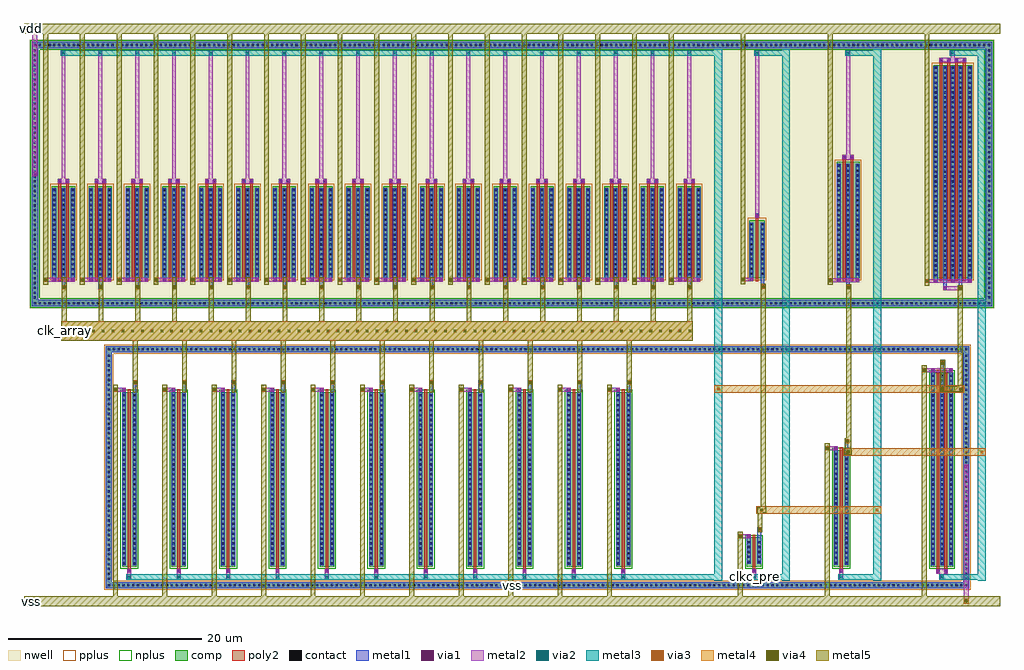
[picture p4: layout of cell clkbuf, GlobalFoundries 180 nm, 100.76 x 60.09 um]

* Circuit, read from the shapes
.subckt clkbuf clk_array clkc_pre vdd vss
XM1 clk_array n1 vss vss nfet_03v3 w=18u l=0.28u m=11
XM2 n2 clkc_pre vss vss nfet_03v3 w=3u l=0.28u
XM3 n3 n2 vss vss nfet_03v3 w=12u l=0.28u
XM4 n1 n3 vss vss nfet_03v3 w=20u l=0.28u m=2
XM5 clk_array n1 vdd vdd pfet_03v3 w=9.5u l=0.28u m=36
XM6 n2 clkc_pre vdd vdd pfet_03v3 w=6u l=0.28u
XM7 n3 n2 vdd vdd pfet_03v3 w=12u l=0.28u m=2
XM8 n1 n3 vdd vdd pfet_03v3 w=22u l=0.28u m=4
.ends

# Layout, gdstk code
import gdstk
lib = gdstk.Library(unit=1e-6, precision=1e-09)
def R(c, l, rs):  # rectangles x0, y0, x1, y1
    for r in rs: c.add(gdstk.rectangle(r[:2], r[2:], *l))
def A(c, l, x, y, w, h, nx, ny, dx, dy):  # array of equal rectangles
    R(c, l, [(x+i*dx, y+j*dy, x+i*dx+w, y+j*dy+h) for i in range(nx) for j in range(ny)])
nwell = (21, 0)
comp = (22, 0)
poly2 = (30, 0)
pplus = (31, 0)
nplus = (32, 0)
contact = (33, 0)
metal1 = (34, 0)
via1 = (35, 0)
metal2 = (36, 0)
via2 = (38, 0)
via3 = (40, 0)
via4 = (41, 0)
metal3 = (42, 0)
metal4 = (46, 0)
metal5 = (81, 0)

clkbuf = lib.new_cell('clkbuf')
A(clkbuf, nwell, 2, 32, 3.26, 10.38, 18, 1, 3.8, 0)
R(clkbuf, nwell, [(0.15,29.34,99.71,57.03), (74,32,76.46,38.88), (83,32,86.26,44.88), (93,32,97.86,54.88)])
A(clkbuf, comp, 10.09, 2.67, 0.66, 18, 11, 1, 5.1, 0)
A(clkbuf, comp, 2.9, 32.44, 1.46, 9.5, 18, 1, 3.8, 0)
R(clkbuf, comp, [(8,0.44,97.14,1.04), (8,1.04,8.6,24.8), (96.54,1.04,97.14,24.8), (9.67,2.67,10.09,20.67), (10.75,2.67,11.17,20.67), (14.77,2.67,15.19,20.67), (15.85,2.67,16.27,20.67), (19.87,2.67,20.29,20.67), (20.95,2.67,21.37,20.67), (24.97,2.67,25.39,20.67), (26.05,2.67,26.47,20.67), (30.07,2.67,30.49,20.67), (31.15,2.67,31.57,20.67), (35.17,2.67,35.59,20.67), (36.25,2.67,36.67,20.67), (40.27,2.67,40.69,20.67), (41.35,2.67,41.77,20.67), (45.37,2.67,45.79,20.67), (46.45,2.67,46.87,20.67), (50.47,2.67,50.89,20.67), (51.55,2.67,51.97,20.67), (55.57,2.67,55.99,20.67), (56.65,2.67,57.07,20.67), (60.67,2.67,61.09,20.67), (61.75,2.67,62.17,20.67), (74.17,2.67,74.59,5.67), (74.59,2.67,75.25,5.67), (75.25,2.67,75.67,5.67), (83.17,2.67,83.59,14.67), (83.59,2.67,84.25,14.67), (84.25,2.67,84.67,14.67), (93.17,2.67,93.59,22.67), (93.59,2.67,95.05,22.67), (95.05,2.67,95.47,22.67), (8,24.8,97.14,25.4), (0.35,29.54,99.51,30.19), (0.35,30.19,1,56.18), (98.86,30.19,99.51,56.18), (2.44,32.44,2.9,41.94), (4.36,32.44,4.82,41.94), (6.24,32.44,6.7,41.94), (8.16,32.44,8.62,41.94), (10.04,32.44,10.5,41.94), (11.96,32.44,12.42,41.94), (13.84,32.44,14.3,41.94), (15.76,32.44,16.22,41.94), (17.64,32.44,18.1,41.94), (19.56,32.44,20.02,41.94), (21.44,32.44,21.9,41.94), (23.36,32.44,23.82,41.94), (25.24,32.44,25.7,41.94), (27.16,32.44,27.62,41.94), (29.04,32.44,29.5,41.94), (30.96,32.44,31.42,41.94), (32.84,32.44,33.3,41.94), (34.76,32.44,35.22,41.94), (36.64,32.44,37.1,41.94), (38.56,32.44,39.02,41.94), (40.44,32.44,40.9,41.94), (42.36,32.44,42.82,41.94), (44.24,32.44,44.7,41.94), (46.16,32.44,46.62,41.94), (48.04,32.44,48.5,41.94), (49.96,32.44,50.42,41.94), (51.84,32.44,52.3,41.94), (53.76,32.44,54.22,41.94), (55.64,32.44,56.1,41.94), (57.56,32.44,58.02,41.94), (59.44,32.44,59.9,41.94), (61.36,32.44,61.82,41.94), (63.24,32.44,63.7,41.94), (65.16,32.44,65.62,41.94), (67.04,32.44,67.5,41.94), (68.96,32.44,69.42,41.94), (74.44,32.44,74.9,38.44), (74.9,32.44,75.56,38.44), (75.56,32.44,76.02,38.44), (83.44,32.44,83.9,44.44), (83.9,32.44,85.36,44.44), (85.36,32.44,85.82,44.44), (93.44,32.44,93.9,54.44), (93.9,32.44,96.96,54.44), (96.96,32.44,97.42,54.44), (0.35,56.18,99.51,56.83)])
A(clkbuf, poly2, 10.24, 2.01, 0.36, 0.36, 11, 1, 5.1, 0)
A(clkbuf, poly2, 10.28, 2.37, 0.28, 18.6, 11, 1, 5.1, 0)
A(clkbuf, poly2, 94.09, 32.14, 0.28, 22.6, 4, 1, 0.8, 0)
A(clkbuf, poly2, 94.04, 54.74, 0.38, 0.38, 4, 1, 0.8, 0)
R(clkbuf, poly2, [(74.74,2.01,75.1,2.37), (83.74,2.01,84.1,2.37), (93.74,2.01,94.1,2.37), (94.54,2.01,94.9,2.37), (74.78,2.37,75.06,5.97), (83.78,2.37,84.06,14.97), (93.78,2.37,94.06,22.97), (94.58,2.37,94.86,22.97), (3.09,32.14,3.37,42.24), (3.89,32.14,4.17,42.24), (6.89,32.14,7.17,42.24), (7.69,32.14,7.97,42.24), (10.69,32.14,10.97,42.24), (11.49,32.14,11.77,42.24), (14.49,32.14,14.77,42.24), (15.29,32.14,15.57,42.24), (18.29,32.14,18.57,42.24), (19.09,32.14,19.37,42.24), (22.09,32.14,22.37,42.24), (22.89,32.14,23.17,42.24), (25.89,32.14,26.17,42.24), (26.69,32.14,26.97,42.24), (29.69,32.14,29.97,42.24), (30.49,32.14,30.77,42.24), (33.49,32.14,33.77,42.24), (34.29,32.14,34.57,42.24), (37.29,32.14,37.57,42.24), (38.09,32.14,38.37,42.24), (41.09,32.14,41.37,42.24), (41.89,32.14,42.17,42.24), (44.89,32.14,45.17,42.24), (45.69,32.14,45.97,42.24), (48.69,32.14,48.97,42.24), (49.49,32.14,49.77,42.24), (52.49,32.14,52.77,42.24), (53.29,32.14,53.57,42.24), (56.29,32.14,56.57,42.24), (57.09,32.14,57.37,42.24), (60.09,32.14,60.37,42.24), (60.89,32.14,61.17,42.24), (63.89,32.14,64.17,42.24), (64.69,32.14,64.97,42.24), (67.69,32.14,67.97,42.24), (68.49,32.14,68.77,42.24), (75.09,32.14,75.37,38.74), (84.09,32.14,84.37,44.74), (84.89,32.14,85.17,44.74), (75.04,38.74,75.42,39.12), (3.04,42.24,3.42,42.62), (3.84,42.24,4.22,42.62), (6.84,42.24,7.22,42.62), (7.64,42.24,8.02,42.62), (10.64,42.24,11.02,42.62), (11.44,42.24,11.82,42.62), (14.44,42.24,14.82,42.62), (15.24,42.24,15.62,42.62), (18.24,42.24,18.62,42.62), (19.04,42.24,19.42,42.62), (22.04,42.24,22.42,42.62), (22.84,42.24,23.22,42.62), (25.84,42.24,26.22,42.62), (26.64,42.24,27.02,42.62), (29.64,42.24,30.02,42.62), (30.44,42.24,30.82,42.62), (33.44,42.24,33.82,42.62), (34.24,42.24,34.62,42.62), (37.24,42.24,37.62,42.62), (38.04,42.24,38.42,42.62), (41.04,42.24,41.42,42.62), (41.84,42.24,42.22,42.62), (44.84,42.24,45.22,42.62), (45.64,42.24,46.02,42.62), (48.64,42.24,49.02,42.62), (49.44,42.24,49.82,42.62), (52.44,42.24,52.82,42.62), (53.24,42.24,53.62,42.62), (56.24,42.24,56.62,42.62), (57.04,42.24,57.42,42.62), (60.04,42.24,60.42,42.62), (60.84,42.24,61.22,42.62), (63.84,42.24,64.22,42.62), (64.64,42.24,65.02,42.62), (67.64,42.24,68.02,42.62), (68.44,42.24,68.82,42.62), (84.04,44.74,84.42,45.12), (84.84,44.74,85.22,45.12)])
A(clkbuf, pplus, 2.27, 32.2, 2.72, 9.98, 18, 1, 3.8, 0)
R(clkbuf, pplus, [(7.84,0.28,97.3,1.2), (7.84,0.88,8.76,24.96), (96.38,0.88,97.3,24.96), (7.84,24.64,97.3,25.56), (74.27,32.2,76.19,38.68), (83.27,32.2,85.99,44.68), (93.27,32.2,97.59,54.68)])
A(clkbuf, nplus, 9.5, 2.43, 1.84, 18.48, 11, 1, 5.1, 0)
R(clkbuf, nplus, [(74,2.43,75.84,5.91), (83,2.43,84.84,14.91), (93,2.43,95.64,22.91), (0.19,29.38,99.67,30.35), (0.19,30.03,1.16,56.34), (98.7,30.03,99.67,56.34), (0.19,56.02,99.67,56.99)])
A(clkbuf, contact, 8.21, 0.63, 0.22, 0.22, 178, 2, 0.5, 24.36)
A(clkbuf, contact, 8.19, 1.31, 0.22, 0.22, 1, 47, 0, 0.5)
A(clkbuf, contact, 96.73, 1.31, 0.22, 0.22, 1, 47, 0, 0.5)
A(clkbuf, contact, 10.31, 2.08, 0.22, 0.22, 11, 1, 5.1, 0)
A(clkbuf, contact, 93.27, 2.87, 0.22, 0.22, 3, 39, 0.94, 0.51)
A(clkbuf, contact, 9.77, 2.89, 0.22, 0.22, 1, 35, 0, 0.51)
A(clkbuf, contact, 10.85, 2.89, 0.22, 0.22, 1, 35, 0, 0.51)
A(clkbuf, contact, 14.87, 2.89, 0.22, 0.22, 1, 35, 0, 0.51)
A(clkbuf, contact, 15.95, 2.89, 0.22, 0.22, 1, 35, 0, 0.51)
A(clkbuf, contact, 19.97, 2.89, 0.22, 0.22, 1, 35, 0, 0.51)
A(clkbuf, contact, 21.05, 2.89, 0.22, 0.22, 1, 35, 0, 0.51)
A(clkbuf, contact, 25.07, 2.89, 0.22, 0.22, 1, 35, 0, 0.51)
A(clkbuf, contact, 26.15, 2.89, 0.22, 0.22, 1, 35, 0, 0.51)
A(clkbuf, contact, 30.17, 2.89, 0.22, 0.22, 1, 35, 0, 0.51)
A(clkbuf, contact, 31.25, 2.89, 0.22, 0.22, 1, 35, 0, 0.51)
A(clkbuf, contact, 35.27, 2.89, 0.22, 0.22, 1, 35, 0, 0.51)
A(clkbuf, contact, 36.35, 2.89, 0.22, 0.22, 1, 35, 0, 0.51)
A(clkbuf, contact, 40.37, 2.89, 0.22, 0.22, 1, 35, 0, 0.51)
A(clkbuf, contact, 41.45, 2.89, 0.22, 0.22, 1, 35, 0, 0.51)
A(clkbuf, contact, 45.47, 2.89, 0.22, 0.22, 1, 35, 0, 0.51)
A(clkbuf, contact, 46.55, 2.89, 0.22, 0.22, 1, 35, 0, 0.51)
A(clkbuf, contact, 50.57, 2.89, 0.22, 0.22, 1, 35, 0, 0.51)
A(clkbuf, contact, 51.65, 2.89, 0.22, 0.22, 1, 35, 0, 0.51)
A(clkbuf, contact, 55.67, 2.89, 0.22, 0.22, 1, 35, 0, 0.51)
A(clkbuf, contact, 56.75, 2.89, 0.22, 0.22, 1, 35, 0, 0.51)
A(clkbuf, contact, 60.77, 2.89, 0.22, 0.22, 1, 35, 0, 0.51)
A(clkbuf, contact, 61.85, 2.89, 0.22, 0.22, 1, 35, 0, 0.51)
A(clkbuf, contact, 83.27, 2.95, 0.22, 0.22, 1, 23, 0, 0.51)
A(clkbuf, contact, 84.35, 2.95, 0.22, 0.22, 1, 23, 0, 0.51)
A(clkbuf, contact, 74.27, 3.04, 0.22, 0.22, 1, 5, 0, 0.51)
A(clkbuf, contact, 75.35, 3.04, 0.22, 0.22, 1, 5, 0, 0.51)
A(clkbuf, contact, 0.57, 29.755, 0.22, 0.22, 198, 2, 0.5, 26.64)
A(clkbuf, contact, 0.565, 30.325, 0.22, 0.22, 1, 52, 0, 0.5)
A(clkbuf, contact, 99.075, 30.325, 0.22, 0.22, 1, 52, 0, 0.5)
A(clkbuf, contact, 93.56, 32.62, 0.22, 0.22, 1, 43, 0, 0.51)
A(clkbuf, contact, 94.52, 32.62, 0.22, 0.22, 3, 43, 0.8, 0.51)
A(clkbuf, contact, 97.08, 32.62, 0.22, 0.22, 1, 43, 0, 0.51)
A(clkbuf, contact, 83.56, 32.72, 0.22, 0.22, 3, 23, 0.96, 0.51)
A(clkbuf, contact, 2.56, 32.745, 0.22, 0.22, 3, 18, 0.96, 0.51)
A(clkbuf, contact, 6.36, 32.745, 0.22, 0.22, 3, 18, 0.96, 0.51)
A(clkbuf, contact, 10.16, 32.745, 0.22, 0.22, 3, 18, 0.96, 0.51)
A(clkbuf, contact, 13.96, 32.745, 0.22, 0.22, 3, 18, 0.96, 0.51)
A(clkbuf, contact, 17.76, 32.745, 0.22, 0.22, 3, 18, 0.96, 0.51)
A(clkbuf, contact, 21.56, 32.745, 0.22, 0.22, 3, 18, 0.96, 0.51)
A(clkbuf, contact, 25.36, 32.745, 0.22, 0.22, 3, 18, 0.96, 0.51)
A(clkbuf, contact, 29.16, 32.745, 0.22, 0.22, 3, 18, 0.96, 0.51)
A(clkbuf, contact, 32.96, 32.745, 0.22, 0.22, 3, 18, 0.96, 0.51)
A(clkbuf, contact, 36.76, 32.745, 0.22, 0.22, 3, 18, 0.96, 0.51)
A(clkbuf, contact, 40.56, 32.745, 0.22, 0.22, 3, 18, 0.96, 0.51)
A(clkbuf, contact, 44.36, 32.745, 0.22, 0.22, 3, 18, 0.96, 0.51)
A(clkbuf, contact, 48.16, 32.745, 0.22, 0.22, 3, 18, 0.96, 0.51)
A(clkbuf, contact, 51.96, 32.745, 0.22, 0.22, 3, 18, 0.96, 0.51)
A(clkbuf, contact, 55.76, 32.745, 0.22, 0.22, 3, 18, 0.96, 0.51)
A(clkbuf, contact, 59.56, 32.745, 0.22, 0.22, 3, 18, 0.96, 0.51)
A(clkbuf, contact, 63.36, 32.745, 0.22, 0.22, 3, 18, 0.96, 0.51)
A(clkbuf, contact, 67.16, 32.745, 0.22, 0.22, 3, 18, 0.96, 0.51)
A(clkbuf, contact, 74.56, 32.78, 0.22, 0.22, 1, 11, 0, 0.51)
A(clkbuf, contact, 75.68, 32.78, 0.22, 0.22, 1, 11, 0, 0.51)
A(clkbuf, contact, 94.12, 54.82, 0.22, 0.22, 4, 1, 0.8, 0)
R(clkbuf, contact, [(74.81,2.08,75.03,2.3), (83.81,2.08,84.03,2.3), (93.81,2.08,94.03,2.3), (94.61,2.08,94.83,2.3), (75.12,38.82,75.34,39.04), (3.12,42.32,3.34,42.54), (3.92,42.32,4.14,42.54), (6.92,42.32,7.14,42.54), (7.72,42.32,7.94,42.54), (10.72,42.32,10.94,42.54), (11.52,42.32,11.74,42.54), (14.52,42.32,14.74,42.54), (15.32,42.32,15.54,42.54), (18.32,42.32,18.54,42.54), (19.12,42.32,19.34,42.54), (22.12,42.32,22.34,42.54), (22.92,42.32,23.14,42.54), (25.92,42.32,26.14,42.54), (26.72,42.32,26.94,42.54), (29.72,42.32,29.94,42.54), (30.52,42.32,30.74,42.54), (33.52,42.32,33.74,42.54), (34.32,42.32,34.54,42.54), (37.32,42.32,37.54,42.54), (38.12,42.32,38.34,42.54), (41.12,42.32,41.34,42.54), (41.92,42.32,42.14,42.54), (44.92,42.32,45.14,42.54), (45.72,42.32,45.94,42.54), (48.72,42.32,48.94,42.54), (49.52,42.32,49.74,42.54), (52.52,42.32,52.74,42.54), (53.32,42.32,53.54,42.54), (56.32,42.32,56.54,42.54), (57.12,42.32,57.34,42.54), (60.12,42.32,60.34,42.54), (60.92,42.32,61.14,42.54), (63.92,42.32,64.14,42.54), (64.72,42.32,64.94,42.54), (67.72,42.32,67.94,42.54), (68.52,42.32,68.74,42.54), (84.12,44.82,84.34,45.04), (84.92,44.82,85.14,45.04)])
A(clkbuf, metal1, 10.23, 2, 0.38, 0.38, 11, 1, 5.1, 0)
A(clkbuf, metal1, 93.19, 2.79, 0.38, 19.76, 3, 1, 0.94, 0)
A(clkbuf, metal1, 9.69, 20.48, 0.38, 0.65, 11, 1, 5.1, 0)
A(clkbuf, metal1, 10.77, 20.48, 0.38, 1.4, 11, 1, 5.1, 0)
A(clkbuf, metal1, 3.44, 31.315, 0.38, 1.4, 18, 1, 3.8, 0)
A(clkbuf, metal1, 93.48, 31.94, 0.38, 0.65, 3, 1, 1.76, 0)
A(clkbuf, metal1, 94.44, 32.54, 0.38, 21.8, 3, 1, 0.8, 0)
A(clkbuf, metal1, 83.48, 32.64, 0.38, 11.6, 3, 1, 0.96, 0)
A(clkbuf, metal1, 2.48, 32.665, 0.38, 9.05, 3, 1, 0.96, 0)
A(clkbuf, metal1, 6.28, 32.665, 0.38, 9.05, 3, 1, 0.96, 0)
A(clkbuf, metal1, 10.08, 32.665, 0.38, 9.05, 3, 1, 0.96, 0)
A(clkbuf, metal1, 13.88, 32.665, 0.38, 9.05, 3, 1, 0.96, 0)
A(clkbuf, metal1, 17.68, 32.665, 0.38, 9.05, 3, 1, 0.96, 0)
A(clkbuf, metal1, 21.48, 32.665, 0.38, 9.05, 3, 1, 0.96, 0)
A(clkbuf, metal1, 25.28, 32.665, 0.38, 9.05, 3, 1, 0.96, 0)
A(clkbuf, metal1, 29.08, 32.665, 0.38, 9.05, 3, 1, 0.96, 0)
A(clkbuf, metal1, 32.88, 32.665, 0.38, 9.05, 3, 1, 0.96, 0)
A(clkbuf, metal1, 36.68, 32.665, 0.38, 9.05, 3, 1, 0.96, 0)
A(clkbuf, metal1, 40.48, 32.665, 0.38, 9.05, 3, 1, 0.96, 0)
A(clkbuf, metal1, 44.28, 32.665, 0.38, 9.05, 3, 1, 0.96, 0)
A(clkbuf, metal1, 48.08, 32.665, 0.38, 9.05, 3, 1, 0.96, 0)
A(clkbuf, metal1, 51.88, 32.665, 0.38, 9.05, 3, 1, 0.96, 0)
A(clkbuf, metal1, 55.68, 32.665, 0.38, 9.05, 3, 1, 0.96, 0)
A(clkbuf, metal1, 59.48, 32.665, 0.38, 9.05, 3, 1, 0.96, 0)
A(clkbuf, metal1, 63.28, 32.665, 0.38, 9.05, 3, 1, 0.96, 0)
A(clkbuf, metal1, 67.08, 32.665, 0.38, 9.05, 3, 1, 0.96, 0)
A(clkbuf, metal1, 94.04, 54.74, 0.38, 0.38, 4, 1, 0.8, 0)
R(clkbuf, metal1, [(8,0.44,97.14,1.04), (8,1.04,8.6,24.8), (96.54,1.04,97.14,24.8), (74.73,2,75.11,2.38), (83.73,2,84.11,2.38), (93.73,2,94.11,2.38), (94.53,2,94.91,2.38), (9.69,2.81,10.07,20.53), (10.77,2.81,11.15,20.53), (14.79,2.81,15.17,20.53), (15.87,2.81,16.25,20.53), (19.89,2.81,20.27,20.53), (20.97,2.81,21.35,20.53), (24.99,2.81,25.37,20.53), (26.07,2.81,26.45,20.53), (30.09,2.81,30.47,20.53), (31.17,2.81,31.55,20.53), (35.19,2.81,35.57,20.53), (36.27,2.81,36.65,20.53), (40.29,2.81,40.67,20.53), (41.37,2.81,41.75,20.53), (45.39,2.81,45.77,20.53), (46.47,2.81,46.85,20.53), (50.49,2.81,50.87,20.53), (51.57,2.81,51.95,20.53), (55.59,2.81,55.97,20.53), (56.67,2.81,57.05,20.53), (60.69,2.81,61.07,20.53), (61.77,2.81,62.15,20.53), (83.19,2.87,83.57,14.47), (84.27,2.87,84.65,14.47), (74.19,2.96,74.57,5.38), (75.27,2.96,75.65,5.38), (74.19,5.33,74.57,5.98), (75.27,5.33,75.65,6.73), (96.57,12.67,97.07,13.17), (83.19,14.42,83.57,15.07), (84.27,14.42,84.65,15.82), (93.19,22.5,93.57,23.15), (94.13,22.5,94.51,23.9), (95.07,22.5,95.45,23.15), (8,24.8,97.14,25.4), (0.35,29.54,99.51,30.19), (0.35,30.19,1,56.18), (98.86,30.19,99.51,56.18), (94.44,31.19,94.82,32.59), (96.04,31.19,96.42,32.59), (84.44,31.29,84.82,32.69), (75.6,31.35,75.98,32.75), (83.48,32.04,83.86,32.69), (85.4,32.04,85.78,32.69), (2.48,32.065,2.86,32.715), (4.4,32.065,4.78,32.715), (6.28,32.065,6.66,32.715), (8.2,32.065,8.58,32.715), (10.08,32.065,10.46,32.715), (12,32.065,12.38,32.715), (13.88,32.065,14.26,32.715), (15.8,32.065,16.18,32.715), (17.68,32.065,18.06,32.715), (19.6,32.065,19.98,32.715), (21.48,32.065,21.86,32.715), (23.4,32.065,23.78,32.715), (25.28,32.065,25.66,32.715), (27.2,32.065,27.58,32.715), (29.08,32.065,29.46,32.715), (31,32.065,31.38,32.715), (32.88,32.065,33.26,32.715), (34.8,32.065,35.18,32.715), (36.68,32.065,37.06,32.715), (38.6,32.065,38.98,32.715), (40.48,32.065,40.86,32.715), (42.4,32.065,42.78,32.715), (44.28,32.065,44.66,32.715), (46.2,32.065,46.58,32.715), (48.08,32.065,48.46,32.715), (50,32.065,50.38,32.715), (51.88,32.065,52.26,32.715), (53.8,32.065,54.18,32.715), (55.68,32.065,56.06,32.715), (57.6,32.065,57.98,32.715), (59.48,32.065,59.86,32.715), (61.4,32.065,61.78,32.715), (63.28,32.065,63.66,32.715), (65.2,32.065,65.58,32.715), (67.08,32.065,67.46,32.715), (69,32.065,69.38,32.715), (74.48,32.1,74.86,32.75), (93.48,32.54,93.86,54.34), (97,32.54,97.38,54.34), (74.48,32.7,74.86,38.18), (75.6,32.7,75.98,38.18), (75.04,38.74,75.42,39.12), (3.04,42.24,3.42,42.62), (3.84,42.24,4.22,42.62), (6.84,42.24,7.22,42.62), (7.64,42.24,8.02,42.62), (10.64,42.24,11.02,42.62), (11.44,42.24,11.82,42.62), (14.44,42.24,14.82,42.62), (15.24,42.24,15.62,42.62), (18.24,42.24,18.62,42.62), (19.04,42.24,19.42,42.62), (22.04,42.24,22.42,42.62), (22.84,42.24,23.22,42.62), (25.84,42.24,26.22,42.62), (26.64,42.24,27.02,42.62), (29.64,42.24,30.02,42.62), (30.44,42.24,30.82,42.62), (33.44,42.24,33.82,42.62), (34.24,42.24,34.62,42.62), (37.24,42.24,37.62,42.62), (38.04,42.24,38.42,42.62), (41.04,42.24,41.42,42.62), (41.84,42.24,42.22,42.62), (44.84,42.24,45.22,42.62), (45.64,42.24,46.02,42.62), (48.64,42.24,49.02,42.62), (49.44,42.24,49.82,42.62), (52.44,42.24,52.82,42.62), (53.24,42.24,53.62,42.62), (56.24,42.24,56.62,42.62), (57.04,42.24,57.42,42.62), (60.04,42.24,60.42,42.62), (60.84,42.24,61.22,42.62), (63.84,42.24,64.22,42.62), (64.64,42.24,65.02,42.62), (67.64,42.24,68.02,42.62), (68.44,42.24,68.82,42.62), (0.42,42.935,0.92,43.435), (84.04,44.74,84.42,45.12), (84.84,44.74,85.22,45.12), (0.35,56.18,99.51,56.83)])
A(clkbuf, via1, 10.29, 2.06, 0.26, 0.26, 11, 1, 5.1, 0)
A(clkbuf, via1, 9.75, 20.8, 0.26, 0.26, 11, 1, 5.1, 0)
A(clkbuf, via1, 10.83, 21.55, 0.26, 0.26, 11, 1, 5.1, 0)
A(clkbuf, via1, 3.5, 31.385, 0.26, 0.26, 18, 1, 3.8, 0)
A(clkbuf, via1, 93.54, 32.01, 0.26, 0.26, 3, 1, 1.76, 0)
A(clkbuf, via1, 94.1, 54.8, 0.26, 0.26, 4, 1, 0.8, 0)
R(clkbuf, via1, [(74.79,2.06,75.05,2.32), (83.79,2.06,84.05,2.32), (93.79,2.06,94.05,2.32), (94.59,2.06,94.85,2.32), (74.25,5.65,74.51,5.91), (75.33,6.4,75.59,6.66), (96.69,12.79,96.95,13.05), (83.25,14.74,83.51,15), (84.33,15.49,84.59,15.75), (93.25,22.82,93.51,23.08), (95.13,22.82,95.39,23.08), (94.19,23.57,94.45,23.83), (94.5,31.26,94.76,31.52), (96.1,31.26,96.36,31.52), (84.5,31.36,84.76,31.62), (75.66,31.42,75.92,31.68), (83.54,32.11,83.8,32.37), (85.46,32.11,85.72,32.37), (2.54,32.135,2.8,32.395), (4.46,32.135,4.72,32.395), (6.34,32.135,6.6,32.395), (8.26,32.135,8.52,32.395), (10.14,32.135,10.4,32.395), (12.06,32.135,12.32,32.395), (13.94,32.135,14.2,32.395), (15.86,32.135,16.12,32.395), (17.74,32.135,18,32.395), (19.66,32.135,19.92,32.395), (21.54,32.135,21.8,32.395), (23.46,32.135,23.72,32.395), (25.34,32.135,25.6,32.395), (27.26,32.135,27.52,32.395), (29.14,32.135,29.4,32.395), (31.06,32.135,31.32,32.395), (32.94,32.135,33.2,32.395), (34.86,32.135,35.12,32.395), (36.74,32.135,37,32.395), (38.66,32.135,38.92,32.395), (40.54,32.135,40.8,32.395), (42.46,32.135,42.72,32.395), (44.34,32.135,44.6,32.395), (46.26,32.135,46.52,32.395), (48.14,32.135,48.4,32.395), (50.06,32.135,50.32,32.395), (51.94,32.135,52.2,32.395), (53.86,32.135,54.12,32.395), (55.74,32.135,56,32.395), (57.66,32.135,57.92,32.395), (59.54,32.135,59.8,32.395), (61.46,32.135,61.72,32.395), (63.34,32.135,63.6,32.395), (65.26,32.135,65.52,32.395), (67.14,32.135,67.4,32.395), (69.06,32.135,69.32,32.395), (74.54,32.17,74.8,32.43), (75.1,38.8,75.36,39.06), (3.1,42.3,3.36,42.56), (3.9,42.3,4.16,42.56), (6.9,42.3,7.16,42.56), (7.7,42.3,7.96,42.56), (10.7,42.3,10.96,42.56), (11.5,42.3,11.76,42.56), (14.5,42.3,14.76,42.56), (15.3,42.3,15.56,42.56), (18.3,42.3,18.56,42.56), (19.1,42.3,19.36,42.56), (22.1,42.3,22.36,42.56), (22.9,42.3,23.16,42.56), (25.9,42.3,26.16,42.56), (26.7,42.3,26.96,42.56), (29.7,42.3,29.96,42.56), (30.5,42.3,30.76,42.56), (33.5,42.3,33.76,42.56), (34.3,42.3,34.56,42.56), (37.3,42.3,37.56,42.56), (38.1,42.3,38.36,42.56), (41.1,42.3,41.36,42.56), (41.9,42.3,42.16,42.56), (44.9,42.3,45.16,42.56), (45.7,42.3,45.96,42.56), (48.7,42.3,48.96,42.56), (49.5,42.3,49.76,42.56), (52.5,42.3,52.76,42.56), (53.3,42.3,53.56,42.56), (56.3,42.3,56.56,42.56), (57.1,42.3,57.36,42.56), (60.1,42.3,60.36,42.56), (60.9,42.3,61.16,42.56), (63.9,42.3,64.16,42.56), (64.7,42.3,64.96,42.56), (67.7,42.3,67.96,42.56), (68.5,42.3,68.76,42.56), (0.54,43.055,0.8,43.315), (84.1,44.8,84.36,45.06), (84.9,44.8,85.16,45.06)])
A(clkbuf, metal2, 10.22, 1.29, 0.4, 1.17, 11, 1, 5.1, 0)
A(clkbuf, metal2, 10.23, 1.94, 0.38, 0.44, 11, 1, 5.1, 0)
A(clkbuf, metal2, 8.79, 20.73, 1.1, 0.4, 11, 1, 5.1, 0)
A(clkbuf, metal2, 8.79, 20.73, 0.4, 0.4, 11, 1, 5.1, 0)
A(clkbuf, metal2, 9.69, 20.73, 0.38, 0.4, 11, 1, 5.1, 0)
A(clkbuf, metal2, 10.77, 21.48, 0.38, 0.4, 11, 1, 5.1, 0)
A(clkbuf, metal2, 10.825, 21.48, 0.4, 0.4, 11, 1, 5.1, 0)
A(clkbuf, metal2, 3.44, 31.315, 0.38, 0.4, 18, 1, 3.8, 0)
A(clkbuf, metal2, 3.495, 31.315, 0.4, 0.4, 18, 1, 3.8, 0)
A(clkbuf, metal2, 1.58, 32.065, 1.1, 0.4, 18, 1, 3.8, 0)
A(clkbuf, metal2, 1.58, 32.065, 0.4, 0.4, 18, 1, 3.8, 0)
A(clkbuf, metal2, 2.48, 32.065, 2.3, 0.4, 18, 1, 3.8, 0)
A(clkbuf, metal2, 3.43, 42.16, 0.4, 13.82, 18, 1, 3.8, 0)
A(clkbuf, metal2, 3.04, 42.24, 1.18, 0.44, 18, 1, 3.8, 0)
R(clkbuf, metal2, [(96.57,-1.16,97.07,-0.66), (96.57,-1.16,97.07,13.17), (74.72,1.29,75.12,2.46), (83.72,1.29,84.12,2.46), (94.12,1.29,94.52,2.46), (74.73,1.94,75.11,2.38), (83.73,1.94,84.11,2.38), (93.73,1.94,94.91,2.38), (73.29,5.58,74.39,5.98), (73.29,5.58,73.69,5.98), (74.19,5.58,74.57,5.98), (75.27,6.33,75.65,6.73), (75.325,6.33,75.725,6.73), (82.29,14.67,83.39,15.07), (82.29,14.67,82.69,15.07), (83.19,14.67,83.57,15.07), (84.27,15.42,84.65,15.82), (84.325,15.42,84.725,15.82), (92.29,22.75,93.39,23.15), (92.29,22.75,92.69,23.15), (93.19,22.75,95.45,23.15), (94.13,23.5,94.51,23.9), (94.185,23.5,94.585,23.9), (94.44,31.19,96.42,31.59), (96.02,31.19,96.42,31.59), (84.44,31.29,84.82,31.69), (84.495,31.29,84.895,31.69), (75.6,31.35,75.98,31.75), (75.655,31.35,76.055,31.75), (92.58,31.94,93.68,32.34), (92.58,31.94,92.98,32.34), (93.48,31.94,97.38,32.34), (82.58,32.04,83.68,32.44), (82.58,32.04,82.98,32.44), (83.48,32.04,85.78,32.44), (73.58,32.1,74.68,32.5), (73.58,32.1,73.98,32.5), (74.48,32.1,74.86,32.5), (75.03,38.66,75.43,55.98), (75.04,38.74,75.42,39.18), (0.42,42.935,0.92,58.43), (84.43,44.66,84.83,55.98), (84.04,44.74,85.22,45.18), (95.23,54.66,95.63,55.98), (94.04,54.74,96.82,55.18), (0.42,57.93,0.92,58.43)])
A(clkbuf, via2, 10.29, 1.46, 0.26, 0.26, 11, 1, 5.1, 0)
A(clkbuf, via2, 8.86, 20.8, 0.26, 0.26, 11, 1, 5.1, 0)
A(clkbuf, via2, 10.895, 21.55, 0.26, 0.26, 11, 1, 5.1, 0)
A(clkbuf, via2, 3.565, 31.385, 0.26, 0.26, 18, 1, 3.8, 0)
A(clkbuf, via2, 1.65, 32.135, 0.26, 0.26, 18, 1, 3.8, 0)
A(clkbuf, via2, 3.5, 55.55, 0.26, 0.26, 18, 1, 3.8, 0)
R(clkbuf, via2, [(96.69,-1.04,96.95,-0.78), (74.79,1.46,75.05,1.72), (83.79,1.46,84.05,1.72), (94.19,1.46,94.45,1.72), (73.36,5.65,73.62,5.91), (75.395,6.4,75.655,6.66), (82.36,14.74,82.62,15), (84.395,15.49,84.655,15.75), (92.36,22.82,92.62,23.08), (94.255,23.57,94.515,23.83), (96.09,31.26,96.35,31.52), (84.565,31.36,84.825,31.62), (75.725,31.42,75.985,31.68), (92.65,32.01,92.91,32.27), (82.65,32.11,82.91,32.37), (73.65,32.17,73.91,32.43), (75.1,55.55,75.36,55.81), (84.5,55.55,84.76,55.81), (95.3,55.55,95.56,55.81), (0.54,58.05,0.8,58.31)])
A(clkbuf, via3, 8.86, 20.8, 0.26, 0.26, 11, 1, 5.1, 0)
A(clkbuf, via3, 10.895, 21.55, 0.26, 0.26, 11, 1, 5.1, 0)
A(clkbuf, via3, 3.565, 31.385, 0.26, 0.26, 18, 1, 3.8, 0)
A(clkbuf, via3, 1.65, 32.135, 0.26, 0.26, 18, 1, 3.8, 0)
R(clkbuf, via3, [(96.69,-1.04,96.95,-0.78), (73.36,5.65,73.62,5.91), (75.395,6.4,75.655,6.66), (87.5,8.37,87.76,8.63), (98.3,14.37,98.56,14.63), (82.36,14.74,82.62,15), (84.395,15.49,84.655,15.75), (71.1,20.87,71.36,21.13), (92.36,22.82,92.62,23.08), (94.255,23.57,94.515,23.83), (96.09,31.26,96.35,31.52), (84.565,31.36,84.825,31.62), (75.725,31.42,75.985,31.68), (92.65,32.01,92.91,32.27), (82.65,32.11,82.91,32.37), (73.65,32.17,73.91,32.43), (0.54,58.05,0.8,58.31)])
A(clkbuf, via4, 8.86, 20.8, 0.26, 0.26, 11, 1, 5.1, 0)
A(clkbuf, via4, 10.895, 21.55, 0.26, 0.26, 11, 1, 5.1, 0)
A(clkbuf, via4, 3.565, 26.87, 0.26, 0.26, 4, 1, 1.01, 0)
A(clkbuf, via4, 7.6, 26.87, 0.26, 0.26, 9, 1, 1.01, 0)
A(clkbuf, via4, 16.685, 26.87, 0.26, 0.26, 7, 1, 1.01, 0)
A(clkbuf, via4, 23.75, 26.87, 0.26, 0.26, 8, 1, 1.01, 0)
A(clkbuf, via4, 31.825, 26.87, 0.26, 0.26, 8, 1, 1.01, 0)
A(clkbuf, via4, 39.9, 26.87, 0.26, 0.26, 8, 1, 1.01, 0)
A(clkbuf, via4, 47.975, 26.87, 0.26, 0.26, 8, 1, 1.01, 0)
A(clkbuf, via4, 56.05, 26.87, 0.26, 0.26, 8, 1, 1.01, 0)
A(clkbuf, via4, 64.125, 26.87, 0.26, 0.26, 5, 1, 1.01, 0)
A(clkbuf, via4, 3.565, 31.385, 0.26, 0.26, 18, 1, 3.8, 0)
A(clkbuf, via4, 1.65, 32.135, 0.26, 0.26, 18, 1, 3.8, 0)
R(clkbuf, via4, [(96.69,-1.04,96.95,-0.78), (73.36,5.65,73.62,5.91), (75.395,6.4,75.655,6.66), (75.56,8.37,75.82,8.63), (84.48,14.37,84.74,14.63), (82.36,14.74,82.62,15), (84.395,15.49,84.655,15.75), (94.255,20.87,94.515,21.13), (96.09,20.87,96.35,21.13), (92.36,22.82,92.62,23.08), (94.255,23.57,94.515,23.83), (96.09,31.26,96.35,31.52), (84.565,31.36,84.825,31.62), (75.725,31.42,75.985,31.68), (92.65,32.01,92.91,32.27), (82.65,32.11,82.91,32.37), (73.65,32.17,73.91,32.43), (0.54,58.05,0.8,58.31)])
A(clkbuf, metal3, 10.22, 1.39, 0.4, 0.4, 11, 1, 5.1, 0)
A(clkbuf, metal3, 8.79, 20.73, 0.4, 0.4, 11, 1, 5.1, 0)
A(clkbuf, metal3, 10.825, 21.48, 0.4, 0.4, 11, 1, 5.1, 0)
A(clkbuf, metal3, 3.495, 31.315, 0.4, 0.4, 18, 1, 3.8, 0)
A(clkbuf, metal3, 1.58, 32.065, 0.4, 0.4, 18, 1, 3.8, 0)
A(clkbuf, metal3, 3.43, 55.48, 0.4, 0.4, 18, 1, 3.8, 0)
R(clkbuf, metal3, [(96.57,-1.16,97.07,-0.66), (70.83,1.19,71.63,56.08), (70.83,1.19,71.63,1.99), (77.83,1.19,78.63,56.08), (77.83,1.19,78.63,1.99), (87.23,1.19,88.03,56.08), (87.23,1.19,88.03,1.99), (98.03,1.19,98.83,56.08), (98.03,1.19,98.83,1.99), (10.12,1.29,61.72,1.89), (61.12,1.29,71.53,1.89), (74.62,1.29,75.22,1.89), (74.62,1.29,78.53,1.89), (83.62,1.29,84.22,1.89), (83.62,1.29,87.93,1.89), (94.02,1.29,94.62,1.89), (94.02,1.29,98.73,1.89), (74.72,1.39,75.12,1.79), (83.72,1.39,84.12,1.79), (94.12,1.39,94.52,1.79), (73.29,5.58,73.69,5.98), (75.325,6.33,75.725,6.73), (87.23,8.1,88.03,8.9), (98.03,14.1,98.83,14.9), (82.29,14.67,82.69,15.07), (84.325,15.42,84.725,15.82), (70.83,20.6,71.63,21.4), (92.29,22.75,92.69,23.15), (94.185,23.5,94.585,23.9), (96.02,31.19,96.42,31.59), (84.495,31.29,84.895,31.69), (75.655,31.35,76.055,31.75), (92.58,31.94,92.98,32.34), (82.58,32.04,82.98,32.44), (73.58,32.1,73.98,32.5), (70.83,55.28,71.63,56.08), (77.83,55.28,78.63,56.08), (87.23,55.28,88.03,56.08), (98.03,55.28,98.83,56.08), (3.33,55.38,68.53,55.98), (67.93,55.38,71.53,55.98), (74.93,55.38,75.53,55.98), (74.93,55.38,78.53,55.98), (84.33,55.38,84.93,55.98), (84.33,55.38,87.93,55.98), (95.13,55.38,95.73,55.98), (95.13,55.38,98.73,55.98), (75.03,55.48,75.43,55.88), (84.43,55.48,84.83,55.88), (95.23,55.48,95.63,55.88), (0.42,57.93,0.92,58.43)])
A(clkbuf, metal4, 8.79, 20.73, 0.4, 0.4, 11, 1, 5.1, 0)
A(clkbuf, metal4, 10.825, 21.48, 0.4, 0.4, 11, 1, 5.1, 0)
A(clkbuf, metal4, 3.495, 31.315, 0.4, 0.4, 18, 1, 3.8, 0)
A(clkbuf, metal4, 1.58, 32.065, 0.4, 0.4, 18, 1, 3.8, 0)
R(clkbuf, metal4, [(96.57,-1.16,97.07,-0.66), (73.29,5.58,73.69,5.98), (75.325,6.33,75.725,6.73), (75.125,8.1,88.03,8.9), (75.225,8.2,76.155,8.8), (75.325,8.3,75.725,8.7), (75.655,8.3,76.055,8.7), (84.125,14.1,98.83,14.9), (84.225,14.2,84.995,14.8), (84.325,14.3,84.725,14.7), (84.495,14.3,84.895,14.7), (82.29,14.67,82.69,15.07), (84.325,15.42,84.725,15.82), (70.83,20.6,96.62,21.4), (94.085,20.7,96.52,21.3), (94.185,20.8,94.585,21.2), (96.02,20.8,96.42,21.2), (92.29,22.75,92.69,23.15), (94.185,23.5,94.585,23.9), (3.395,26,68.595,28), (3.495,26.8,3.895,27.2), (7.295,26.8,7.695,27.2), (10.825,26.8,11.225,27.2), (11.095,26.8,11.495,27.2), (14.895,26.8,15.295,27.2), (15.925,26.8,16.325,27.2), (18.695,26.8,19.095,27.2), (21.025,26.8,21.425,27.2), (22.495,26.8,22.895,27.2), (26.125,26.8,26.525,27.2), (26.295,26.8,26.695,27.2), (30.095,26.8,30.495,27.2), (31.225,26.8,31.625,27.2), (33.895,26.8,34.295,27.2), (36.325,26.8,36.725,27.2), (37.695,26.8,38.095,27.2), (41.425,26.8,41.825,27.2), (41.495,26.8,41.895,27.2), (45.295,26.8,45.695,27.2), (46.525,26.8,46.925,27.2), (49.095,26.8,49.495,27.2), (51.625,26.8,52.025,27.2), (52.895,26.8,53.295,27.2), (56.695,26.8,57.095,27.2), (56.725,26.8,57.125,27.2), (60.495,26.8,60.895,27.2), (61.825,26.8,62.225,27.2), (64.295,26.8,64.695,27.2), (68.095,26.8,68.495,27.2), (96.02,31.19,96.42,31.59), (84.495,31.29,84.895,31.69), (75.655,31.35,76.055,31.75), (92.58,31.94,92.98,32.34), (82.58,32.04,82.98,32.44), (73.58,32.1,73.98,32.5), (0.42,57.93,0.92,58.43)])
A(clkbuf, metal5, 8.74, -1.41, 0.5, 22.84, 11, 1, 5.1, 0)
A(clkbuf, metal5, 10.775, 20.68, 0.5, 7.32, 11, 1, 5.1, 0)
A(clkbuf, metal5, 8.79, 20.73, 0.4, 0.4, 11, 1, 5.1, 0)
A(clkbuf, metal5, 10.775, 21.43, 0.5, 0.5, 11, 1, 5.1, 0)
A(clkbuf, metal5, 3.445, 26, 0.5, 6.515, 18, 1, 3.8, 0)
A(clkbuf, metal5, 3.445, 31.265, 0.5, 0.5, 18, 1, 3.8, 0)
A(clkbuf, metal5, 1.53, 31.765, 0.5, 26.915, 18, 1, 3.8, 0)
A(clkbuf, metal5, 1.58, 32.065, 0.4, 0.4, 18, 1, 3.8, 0)
R(clkbuf, metal5, [(-0.45,-1.41,100.31,-0.41), (73.24,-1.41,73.74,6.28), (82.24,-1.41,82.74,15.37), (92.24,-1.41,92.74,23.45), (96.57,-1.16,97.07,-0.66), (73.29,5.58,73.69,5.98), (75.275,6.23,75.775,8.8), (75.275,6.28,75.775,6.78), (75.225,8.2,76.155,8.8), (75.605,8.2,76.105,31.85), (84.225,14.2,84.995,14.8), (84.275,14.2,84.775,15.92), (84.445,14.2,84.945,31.79), (82.29,14.67,82.69,15.07), (84.275,15.37,84.775,15.87), (94.085,20.7,96.52,21.3), (94.135,20.7,94.635,24), (95.97,20.7,96.47,31.69), (92.29,22.75,92.69,23.15), (94.135,23.45,94.635,23.95), (3.395,26,68.595,28), (95.97,31.14,96.47,31.64), (84.445,31.24,84.945,31.74), (75.605,31.3,76.105,31.8), (92.53,31.64,93.03,58.68), (82.53,31.74,83.03,58.68), (73.53,31.8,74.03,58.68), (92.58,31.94,92.98,32.34), (82.58,32.04,82.98,32.44), (73.58,32.1,73.98,32.5), (-0.45,57.68,100.31,58.68), (0.42,57.93,0.92,58.43)])
clkbuf.add(gdstk.Label('vss', (50,0.74), layer=34, texttype=10))
clkbuf.add(gdstk.Label('clk_array', (3.695,27), layer=46, texttype=10))
clkbuf.add(gdstk.Label('clkc_pre', (74.92,1.59), layer=42, texttype=10))
clkbuf.add(gdstk.Label('vss', (0.35,-0.91), layer=81, texttype=10))
clkbuf.add(gdstk.Label('vdd', (0.35,58.18), layer=81, texttype=10))

lib.write_gds('clkbuf.gds')
